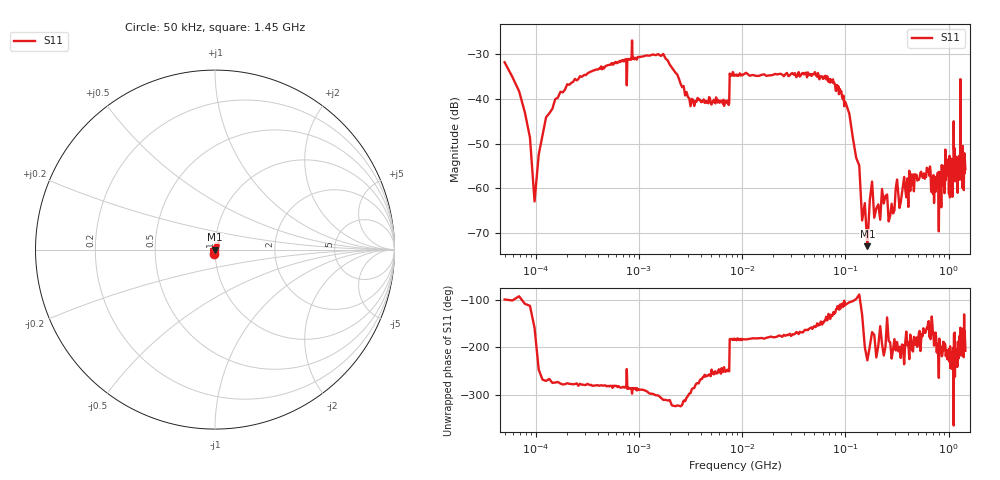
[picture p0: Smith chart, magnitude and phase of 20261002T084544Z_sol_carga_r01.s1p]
! piloto_deriva / sol_carga / r01
# HZ S RI R 50
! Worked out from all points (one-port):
!   501 points, 50 kHz to 1.45 GHz, reference 50 ohm
!   lowest |S11| = -73.0 dB at 163 MHz (marker M1), VSWR 1.00, Z = 50 + j0.0165 ohm
!   |S11| at or under -10 dB: start of sweep to end of sweep
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50000  -0.00378 -0.0255
97500  -0.000662 -0.000261
183000  0.00172 0.0118
658000  0.00659 0.0251
1540000  0.0167 0.0271
2440000  0.0135 0.0101
3250000  0.00314 0.00951
6850000  -0.003 0.00905
7300000  -0.00374 0.00879
7750000  -0.0182 0.000678
8560000  -0.0185 0.000666
3.16e7  -0.0185 -0.00244
7.75e7  -0.00968 -0.0118
1.18e8  -0.000755 -0.00356
1.45e8  -0.000285 -0.000329
1.63e8  -0.000152 0.000165
2.8e8  -0.000487 0.00046
4.06e8  -0.00061 9.3e-05
6.4e8  -0.00129 -0.000929
8.11e8  -0.00153 3.7e-05
9.46e8  -0.00122 0.000642
1.0855e9  -0.000411 0.000689
1.1215e9  -0.00239 0.0013
1.2115e9  -0.0012 0.000736
1.2835e9  -0.00175 0.000556
1.306e9  -0.00186 0.000242
1.3105e9  -0.00214 0.000493
1.45e9  -0.00145 0.000744
